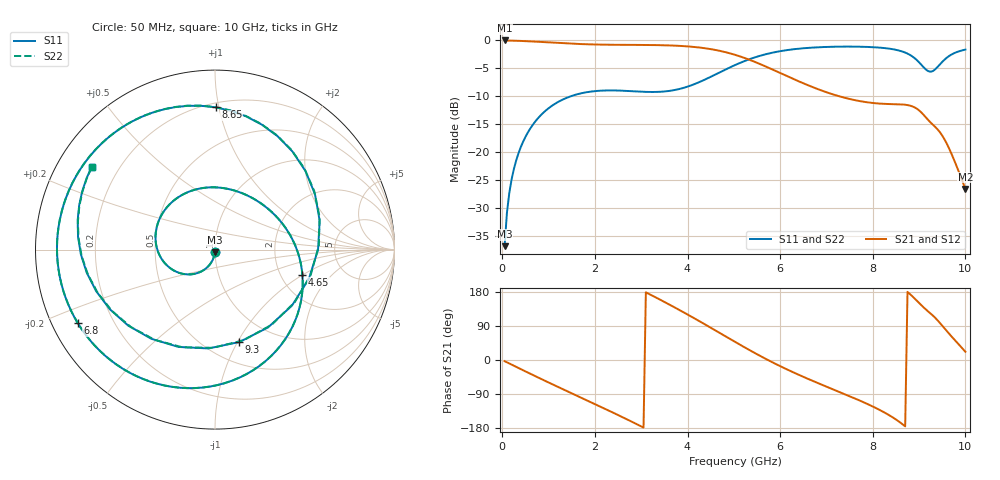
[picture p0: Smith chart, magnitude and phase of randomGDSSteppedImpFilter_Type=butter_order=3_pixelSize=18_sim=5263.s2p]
! freq	dB(S11)	phase(S11)	dB(S12)	phase(S12)
!  dB(S21)	phase(S21)	dB(S22)	phase(S22)
!S-par simulation data
#  GHz  S  DB  R 50
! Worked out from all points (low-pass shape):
!   200 points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, 50 MHz to 10 GHz, reference 50 ohm
!   highest |S21| = -0.01 dB at 50 MHz (marker M1); lowest = -26.6 dB at 10 GHz (marker M2)
!   |S21| within 3 dB of the highest: start of sweep to 5.186 GHz
!   lowest |S11| = -36.8 dB at 50 MHz (marker M3), VSWR 1.03, Z = 49.9 - j1.44 ohm
!   |S11| at or under -10 dB: start of sweep to 1.476 GHz
!   |S22| runs from -36.8 to -1.1 dB; largest |S21 - S12| = 0
!   S11 on the Smith chart (normalised r, x): 50 MHz: 1.00, -0.03; 4.65 GHz: 2.62, -1.00; 6.8 GHz: 0.08, -0.25; 8.65 GHz: 0.23, +0.98; 9.3 GHz: 0.71, -1.02; 10 GHz: 0.10, +0.30
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0.05  -36.81 -92.5  -0.01 -3.1  -0.01 -3.1  -36.81 -92.5
0.2  -24.91 -102.1  -0.04 -12.1  -0.04 -12.1  -24.91 -102.1
0.5  -17.26 -120.5  -0.13 -30.1  -0.13 -30.1  -17.26 -120.4
1.15  -11.27 -158.6  -0.43 -68.0  -0.43 -68.0  -11.27 -158.5
1.75  -9.38 167.2  -0.67 -102.2  -0.67 -102.2  -9.38 167.4
2.65  -9.02 115.3  -0.79 -154.1  -0.79 -154.1  -9.01 115.6
3.4  -9.19 69.1  -0.85 159.7  -0.85 159.7  -9.19 69.4
4.1  -7.98 22.5  -1.14 113.3  -1.14 113.3  -7.97 22.7
4.65  -5.90 -16.2  -1.78 74.6  -1.78 74.6  -5.90 -16.1
5.05  -4.32 -44.7  -2.63 46.2  -2.63 46.2  -4.32 -44.7
5.85  -2.16 -98.2  -5.26 -7.2  -5.26 -7.2  -2.16 -98.4
6.7  -1.28 -146.7  -8.35 -55.0  -8.35 -55.0  -1.28 -146.9
6.8  -1.24 -152.0  -8.67 -60.1  -8.67 -60.1  -1.23 -152.1
7.65  -1.12 163.5  -10.75 -103.4  -10.75 -103.4  -1.11 163.4
8.35  -1.46 118.8  -11.38 -145.4  -11.38 -145.4  -1.45 118.8
8.65  -2.02 89.8  -11.47 -170.2  -11.47 -170.2  -1.99 90.2
8.85  -2.84 60.9  -11.79 168.7  -11.79 168.7  -2.79 61.9
9.05  -4.36 15.4  -12.90 144.4  -12.90 144.4  -4.29 17.3
9.3  -5.47 -75.3  -15.10 117.0  -15.10 117.0  -5.52 -72.5
9.45  -4.29 -125.5  -16.43 97.7  -16.43 97.7  -4.37 -123.6
9.6  -3.08 -160.7  -18.51 76.2  -18.51 76.2  -3.15 -159.6
10  -1.64 146.0  -26.56 21.8  -26.56 21.8  -1.66 146.3
